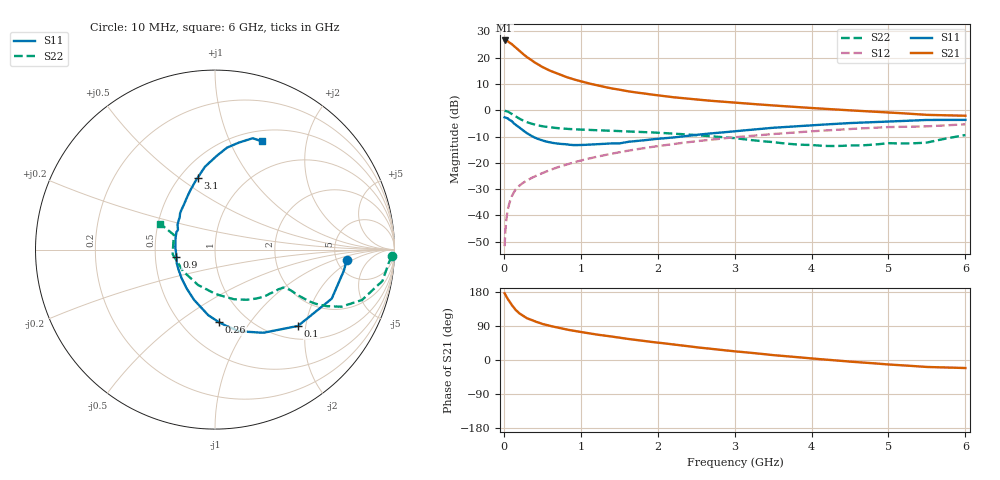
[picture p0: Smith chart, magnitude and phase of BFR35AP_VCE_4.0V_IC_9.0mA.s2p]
! Infineon Technologies  Discrete & RF Semiconductors
! BFR35AP
! VCE =  4.0 V,  IC =  9.0 mA
! Common Emitter S-Parameters:  Nov 2015
# GHz  S  MA  R  50
!  f  S11  S21  S12  S22
! GHz  MAG  ANG  MAG  ANG  MAG  ANG  MAG  ANG
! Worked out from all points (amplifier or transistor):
!   210 points, 10 MHz to 6 GHz, reference 50 ohm
!   highest |S21| = 26.6 dB at 10 MHz (marker M1)
!   |S21| within 3 dB of that: start of sweep to 166.9 MHz
!   unconditionally stable (mu >= 1): 617.6 MHz to 3.223 GHz
!   at 185 MHz: K = 0.53, MSG = 26.1 dB, |S12| = -29.2 dB
!   at 1.52 GHz: K = 1.11, MAG = 9.8 dB, |S12| = -15.9 dB
!   at 6 GHz: K = 0.93, MSG = 1.6 dB, |S12| = -5.3 dB
!   S11 on the Smith chart (normalised r, x): 10 MHz: 6.16, -1.59; 100 MHz: 1.29, -1.81; 260 MHz: 0.75, -0.72; 900 MHz: 0.64, -0.05; 3.1 GHz: 0.61, +0.59; 6 GHz: 0.63, +1.33
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0.01  0.7361 -4.6  21.32 176.1  0.0026 89.6  0.9867 -2.1
0.02  0.7278 -9.2  21.31 172.0  0.0051 89.0  0.9713 -4.3
0.05  0.7054 -22.8  20.68 161.3  0.0127 78.3  0.9492 -10.6
0.1  0.6283 -42.6  18.33 145.9  0.0226 72.3  0.8662 -18.9
0.15  0.5356 -59.9  15.89 132.6  0.0307 65.4  0.7736 -24.3
0.2  0.4749 -73.4  13.68 123.4  0.0366 62.6  0.6968 -26.9
0.24  0.4258 -82.4  12.12 117.7  0.0407 61.5  0.6499 -28.0
0.26  0.4047 -87.0  11.45 115.0  0.0426 61.3  0.6293 -28.4
0.3  0.3672 -95.9  10.29 110.2  0.0464 61.4  0.5939 -28.8
0.4  0.3037 -112.5  8.159 102.0  0.055 61.2  0.5315 -28.8
0.5  0.2675 -126.3  6.671 95.2  0.0638 62.4  0.4961 -28.4
0.6  0.2453 -139.3  5.676 89.9  0.073 63.2  0.4751 -28.3
0.7  0.2326 -150.3  4.949 85.2  0.0824 63.9  0.458 -28.4
0.9  0.2181 -169.8  3.902 77.2  0.1012 64.2  0.4361 -29.0
1.02  0.2192 -179.0  3.5 73.3  0.1127 63.9  0.4287 -30.1
1.4  0.2358 155.7  2.611 61.9  0.1489 62.2  0.4088 -34.7
2.02  0.2888 130.6  1.912 45.4  0.2101 57.1  0.3735 -45.0
2.6  0.3537 113.5  1.557 31.4  0.2675 51.2  0.3301 -57.8
3.1  0.4116 103.6  1.365 21.1  0.316 45.2  0.2835 -72.7
4.1  0.5295 88.0  1.083 2.4  0.4067 32.7  0.2131 -121.4
5.1  0.6192 76.1  0.895 -13.0  0.482 18.8  0.2347 -179.0
6  0.6573 66.4  0.788 -21.2  0.541 8.5  0.3381 154.7
